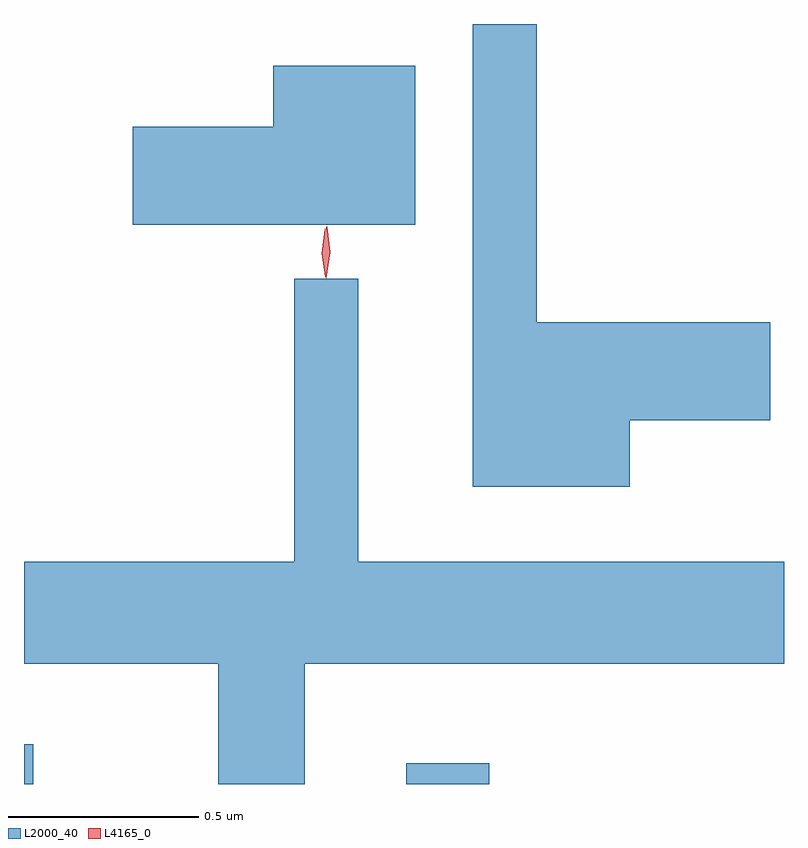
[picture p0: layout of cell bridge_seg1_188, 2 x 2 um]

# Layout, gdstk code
import gdstk
lib = gdstk.Library(unit=1e-6, precision=1e-09)
def R(c, l, rs):  # rectangles x0, y0, x1, y1
    for r in rs: c.add(gdstk.rectangle(r[:2], r[2:], *l))
def P(c, l, *ps):  # polygons
    for p in ps: c.add(gdstk.Polygon(p, *l))
L2000_40 = (2000, 40)
L4165_0 = (4165, 0)

bridge_seg1_188 = lib.new_cell('bridge_seg1_188')
R(bridge_seg1_188, L2000_40, [(803.31,959.199,803.334,959.304), (804.316,959.199,804.534,959.254)])
P(bridge_seg1_188, L2000_40, [(804.904,960.156),(805.274,960.156),(805.274,960.414),(804.659,960.414),(804.659,961.199),(804.491,961.199),(804.491,959.981),(804.904,959.981)],
  [(804.339,961.089),(803.966,961.089),(803.966,960.929),(803.596,960.929),(803.596,960.671),(804.339,960.671)],
  [(804.049,959.516),(805.31,959.516),(805.31,959.784),(804.189,959.784),(804.189,960.528),(804.021,960.528),(804.021,959.784),(803.31,959.784),(803.31,959.516),(803.821,959.516),(803.821,959.199),(804.049,959.199)])
P(bridge_seg1_188, L4165_0, [(804.105,960.53),(804.105,960.53),(804.096,960.598),(804.106,960.666),(804.107,960.666),(804.108,960.666),(804.116,960.598),(804.106,960.53)],
  [(804.104,960.533),(804.103,960.534),(804.093,960.596),(804.101,960.659),(804.102,960.66),(804.102,960.659),(804.113,960.596),(804.104,960.534)])

lib.write_gds('bridge_seg1_188.gds')
